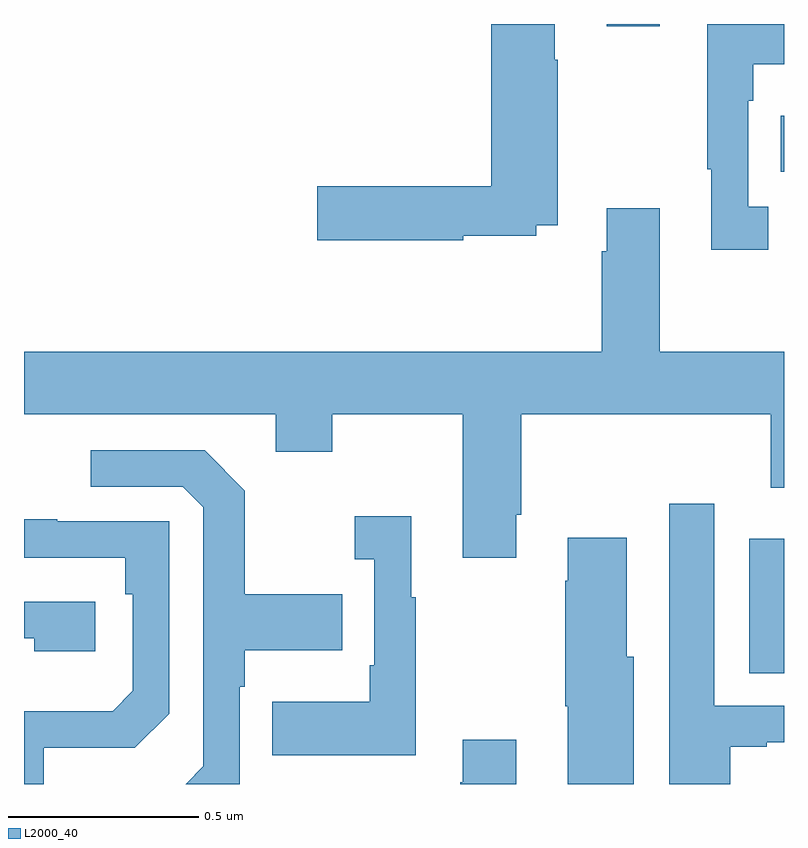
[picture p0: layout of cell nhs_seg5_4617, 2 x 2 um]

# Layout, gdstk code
import gdstk
lib = gdstk.Library(unit=1e-6, precision=1e-09)
def R(c, l, rs):  # rectangles x0, y0, x1, y1
    for r in rs: c.add(gdstk.rectangle(r[:2], r[2:], *l))
def P(c, l, *ps):  # polygons
    for p in ps: c.add(gdstk.Polygon(p, *l))
L2000_40 = (2000, 40)

nhs_seg5_4617 = lib.new_cell('nhs_seg5_4617')
R(nhs_seg5_4617, L2000_40, [(174.908,844.09,175,844.444), (174.991,845.41,175,845.557), (174.533,845.793,174.673,845.799)])
P(nhs_seg5_4617, L2000_40, [(174.958,845.318),(174.906,845.318),(174.906,845.597),(174.919,845.597),(174.919,845.693),(175,845.693),(175,845.799),(174.798,845.799),(174.798,845.417),(174.809,845.417),(174.809,845.205),(174.958,845.205)],
  [(174.156,845.242),(174.348,845.242),(174.348,845.27),(174.405,845.27),(174.405,845.705),(174.397,845.705),(174.397,845.799),(174.23,845.799),(174.23,845.372),(173.772,845.372),(173.772,845.23),(174.156,845.23)],
  [(174.295,844.507),(174.308,844.507),(174.308,844.772),(174.965,844.772),(174.965,844.578),(175,844.578),(175,844.936),(174.673,844.936),(174.673,845.314),(174.533,845.314),(174.533,845.201),(174.521,845.201),(174.521,844.936),(173,844.936),(173,844.772),(173.663,844.772),(173.663,844.673),(173.811,844.673),(173.811,844.772),(174.155,844.772),(174.155,844.395),(174.295,844.395)],
  [(173.568,844.055),(173.581,844.055),(173.581,844.151),(173.837,844.151),(173.837,844.299),(173.581,844.299),(173.581,844.571),(173.475,844.677),(173.175,844.677),(173.175,844.581),(173.418,844.581),(173.472,844.527),(173.472,843.846),(173.425,843.799),(173.568,843.799)],
  [(174.859,843.897),(174.955,843.897),(174.955,843.909),(175,843.909),(175,844.005),(174.817,844.005),(174.817,844.537),(174.698,844.537),(174.698,843.799),(174.859,843.799)],
  [(174.031,844.291),(174.019,844.291),(174.019,844.504),(173.871,844.504),(173.871,844.391),(173.922,844.391),(173.922,844.111),(173.91,844.111),(173.91,844.015),(173.653,844.015),(173.653,843.875),(174.031,843.875)],
  [(173.052,843.894),(173.292,843.894),(173.382,843.984),(173.382,844.491),(173.087,844.491),(173.087,844.496),(173,844.496),(173,844.395),(173.266,844.395),(173.266,844.298),(173.286,844.298),(173.286,844.044),(173.233,843.991),(173,843.991),(173,843.799),(173.052,843.799)],
  [(174.604,844.134),(174.586,844.134),(174.586,844.447),(174.431,844.447),(174.431,844.334),(174.424,844.334),(174.424,844.003),(174.431,844.003),(174.431,843.799),(174.604,843.799)],
  [(173.188,844.278),(173,844.278),(173,844.182),(173.027,844.182),(173.027,844.148),(173.188,844.148)],
  [(174.295,843.916),(174.155,843.916),(174.155,843.803),(174.148,843.803),(174.148,843.799),(174.295,843.799)])

lib.write_gds('nhs_seg5_4617.gds')
